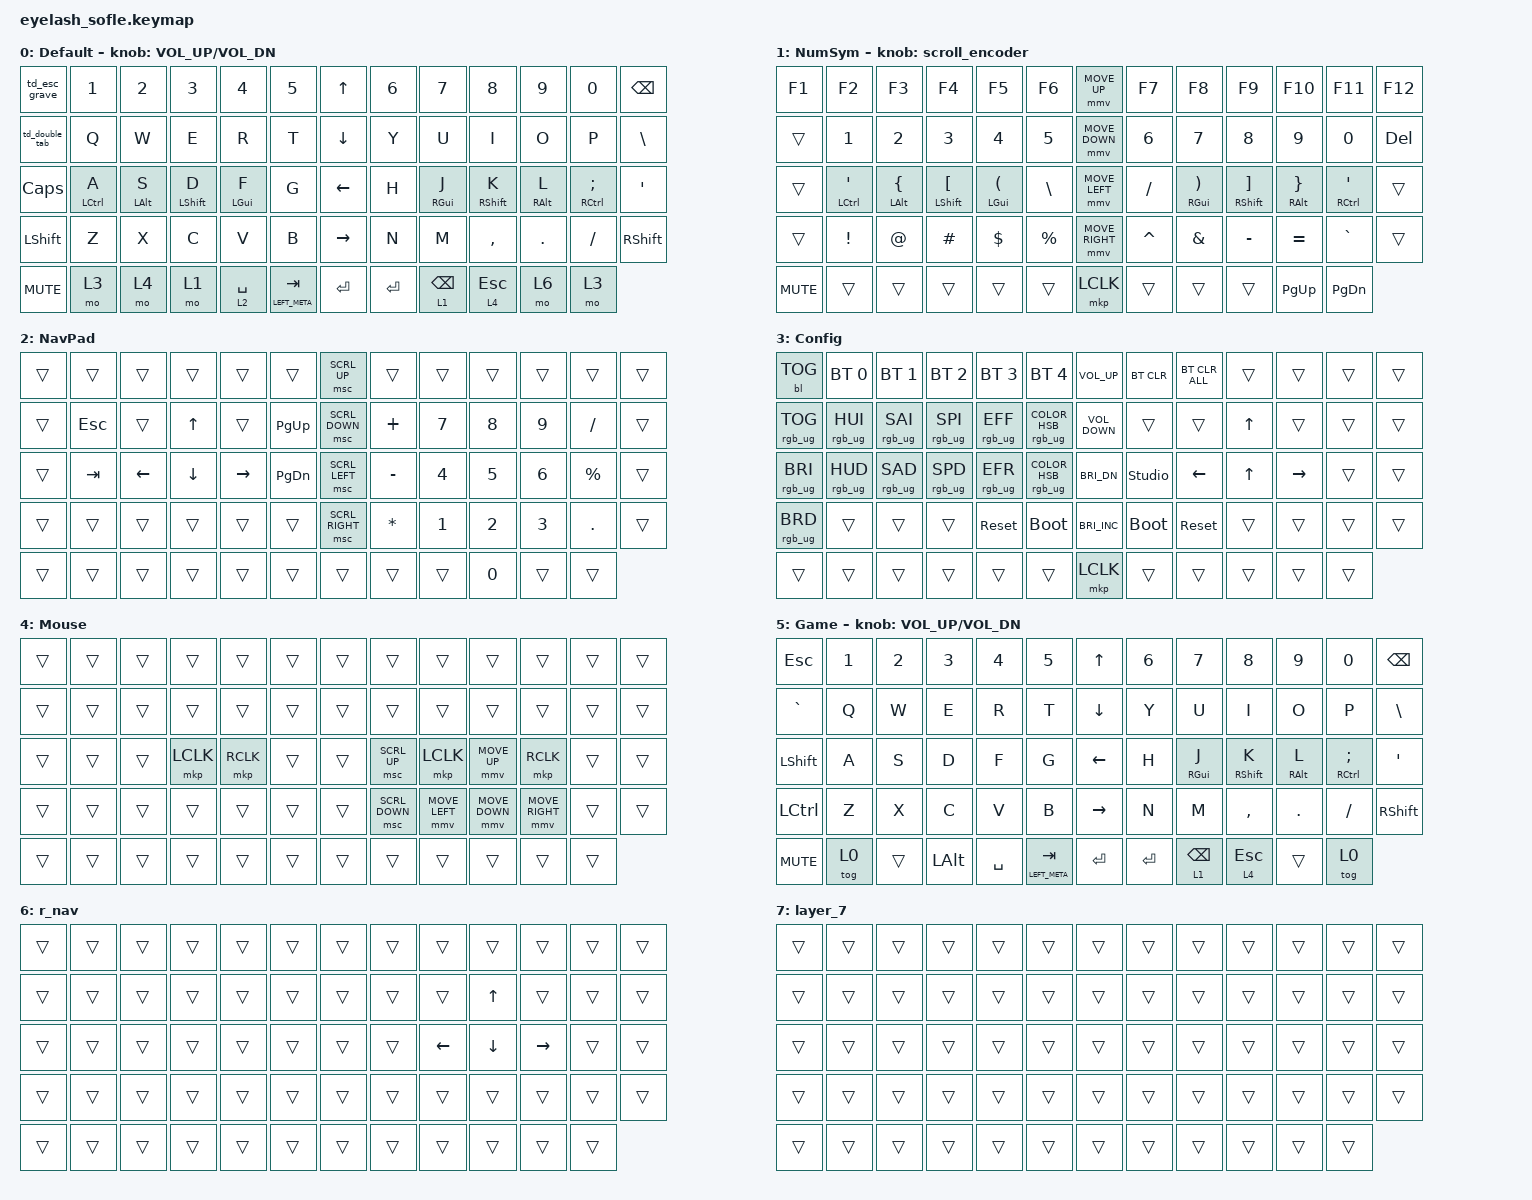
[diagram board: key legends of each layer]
#define ZMK_POINTING_DEFAULT_MOVE_VAL 1200  // 600
#define ZMK_POINTING_DEFAULT_SCRL_VAL 25   // 10
#define LEFT_HAND_POSITIONS  0 1 2 3 4 5 13 14 15 16 17 18 26 27 28 29 30 31 39 40 41 42 43 44 53 54 55 56 57
#define RIGHT_HAND_POSITIONS 7 8 9 10 11 12 20 21 22 23 24 25 33 34 35 36 37 38 46 47 48 49 50 51 59 60 61 62 63

#include <input/processors.dtsi>
#include <zephyr/dt-bindings/input/input-event-codes.h>
#include <behaviors.dtsi>
#include <dt-bindings/zmk/backlight.h>
#include <dt-bindings/zmk/bt.h>
#include <dt-bindings/zmk/keys.h>
#include <dt-bindings/zmk/pointing.h>
#include <dt-bindings/zmk/rgb.h>

&mmv_input_listener { input-processors = <&zip_xy_scaler 2 1>; };

&msc_input_listener { input-processors = <&zip_scroll_scaler 2 1>; };

&msc {
    acceleration-exponent = <1>;      // 0
    time-to-max-speed-ms = <100>;       // 300
    delay-ms = <0>;                   // 0
};

&mmv {
    time-to-max-speed-ms = <500>;
    acceleration-exponent = <1>;
    trigger-period-ms = <16>;
};

&soft_off { hold-time-ms = <2000>; };

&mt {
    flavor = "balanced";
    tapping-term-ms = <200>;
    quick-tap-ms = <175>;
    require-prior-idle-ms = <150>;
};

/ {
    scroll_encoder: scroll_encoder {
        compatible = "zmk,behavior-sensor-rotate";
        #sensor-binding-cells = <0>;
        bindings = <&msc SCRL_DOWN>, <&msc SCRL_UP>;

        tap-ms = <100>;
    };

    td_double_tab: td_double_tab {
        compatible = "zmk,behavior-tap-dance";
        label = "TD_DOUBLE_TAB";
        #binding-cells = <0>;
        bindings = <&kp TAB>, <&kp LS(TAB)>;
    };

    td_hyp_under: td_hyp_under {
        compatible = "zmk,behavior-tap-dance";
        label = "TD_HYP_UNDER";
        #binding-cells = <0>;
        bindings = <&kp MINUS>, <&kp LS(MINUS)>;
    };

    td_esc_grave: td_esc_grave {
        compatible = "zmk,behavior-tap-dance";
        label = "TD_ESC_GRAVE";
        #binding-cells = <0>;
        bindings = <&kp ESC>, <&kp GRAVE>;
    };

    behaviors {
        hrm_left: hrm_left {
            compatible = "zmk,behavior-hold-tap";
            #binding-cells = <2>;
            flavor = "balanced";
            tapping-term-ms = <200>;
            quick-tap-ms = <175>;
            require-prior-idle-ms = <150>;
            hold-trigger-key-positions = <RIGHT_HAND_POSITIONS>;
            hold-trigger-on-release;
            bindings = <&kp>, <&kp>;
        };

        hrm_right: hrm_right {
            compatible = "zmk,behavior-hold-tap";
            #binding-cells = <2>;
            flavor = "balanced";
            tapping-term-ms = <200>;
            quick-tap-ms = <175>;
            require-prior-idle-ms = <150>;
            hold-trigger-key-positions = <LEFT_HAND_POSITIONS>;
            hold-trigger-on-release;
            bindings = <&kp>, <&kp>;
        };

        tap_b: tap_b {
            compatible = "zmk,behavior-tap-dance";
            label = "TAP_B";
            #binding-cells = <0>;
            bindings = <&kp B>, <&kp LC(B)>;
        };
    };

    combos {
        compatible = "zmk,combos";

        softoff {
            bindings = <&soft_off>;
            key-positions = <14 28 40>;
        };

        combo_nav {
            bindings = <&mo 4>;
            key-positions = <56 60>;
        };

        toggle_mo_game {
            bindings = <&tog 5>;
            key-positions = <53 63>;
        };
    };

    macros {
        SHIFT_MCLK: SHIFT_MCLK {
            compatible = "zmk,behavior-macro";
            #binding-cells = <0>;
            bindings =
                <&macro_press>,
                <&kp LEFT_SHIFT>,
                <&macro_press>,
                <&mkp MB3>,
                <&macro_pause_for_release>,
                <&macro_release>,
                <&kp LEFT_SHIFT &mkp MB3>;

            label = "SHIFT_MCLK";
        };
    };

    keymap {
        compatible = "zmk,keymap";

        default_layer {
            bindings = <
&td_esc_grave   &kp N1             &kp N2            &kp N3             &kp N4            &kp N5               &kp UP_ARROW     &kp N6   &kp N7             &kp N8              &kp N9             &kp N0                 &kp BACKSPACE
&td_double_tab  &kp Q              &kp W             &kp E              &kp R             &kp T                &kp DOWN_ARROW   &kp Y    &kp U              &kp I               &kp O              &kp P                  &kp BSLH
&kp CAPS        &hrm_left LCTRL A  &hrm_left LALT S  &hrm_left LSHFT D  &hrm_left LGUI F  &kp G                &kp LEFT_ARROW   &kp H    &hrm_right RGUI J  &hrm_right RSHFT K  &hrm_right RALT L  &hrm_right RCTRL SEMI  &kp APOS
&kp LEFT_SHIFT  &kp Z              &kp X             &kp C              &kp V             &kp B                &kp RIGHT_ARROW  &kp N    &kp M              &kp COMMA           &kp DOT            &kp SLASH              &kp RIGHT_SHIFT
&kp C_MUTE      &mo 3              &mo 4             &mo 1              &lt 2 SPACE       &mt LEFT_META TAB    &kp ENTER        &kp RET  &lt 1 BACKSPACE    &lt 4 ESCAPE        &mo 6              &mo 3
            >;

            sensor-bindings = <&inc_dec_kp C_VOLUME_UP C_VOL_DN>;
            display-name = "Default";
        };

        num_symbol_layer {
            bindings = <
&kp F1      &kp F2                        &kp F3                     &kp F4                        &kp F5                           &kp F6           &mmv MOVE_UP     &kp F7     &kp F8                             &kp F9                          &kp F10                      &kp F11                        &kp F12
&trans      &kp NUMBER_1                  &kp NUMBER_2               &kp NUMBER_3                  &kp NUMBER_4                     &kp N5           &mmv MOVE_DOWN   &kp N6     &kp N7                             &kp N8                          &kp N9                       &kp N0                         &kp DELETE
&trans      &hrm_left LCTRL SINGLE_QUOTE  &hrm_left LALT LEFT_BRACE  &hrm_left LSHFT LEFT_BRACKET  &hrm_left LGUI LEFT_PARENTHESIS  &kp BACKSLASH    &mmv MOVE_LEFT   &kp SLASH  &hrm_right RGUI RIGHT_PARENTHESIS  &hrm_right RSHFT RIGHT_BRACKET  &hrm_right RALT RIGHT_BRACE  &hrm_right RCTRL SINGLE_QUOTE  &trans
&trans      &kp EXCLAMATION               &kp AT_SIGN                &kp HASH                      &kp DOLLAR                       &kp PERCENT      &mmv MOVE_RIGHT  &kp CARET  &kp AMPERSAND                      &kp MINUS                       &kp EQUAL                    &kp GRAVE                      &trans
&kp C_MUTE  &trans                        &trans                     &trans                        &trans                           &trans           &mkp LCLK        &trans     &trans                             &trans                          &kp PAGE_UP                  &kp PAGE_DOWN
            >;

            display-name = "NumSym";
            sensor-bindings = <&scroll_encoder>;
        };

        navigation_numpad {
            bindings = <
&trans  &trans      &trans          &trans        &trans     &trans           &msc SCRL_UP     &trans     &trans  &trans  &trans  &trans       &trans
&trans  &kp ESCAPE  &trans          &kp UP_ARROW  &trans     &kp PAGE_UP      &msc SCRL_DOWN   &kp PLUS   &kp N7  &kp N8  &kp N9  &kp SLASH    &trans
&trans  &kp TAB     &kp LEFT_ARROW  &kp DOWN      &kp RIGHT  &kp PAGE_DOWN    &msc SCRL_LEFT   &kp MINUS  &kp N4  &kp N5  &kp N6  &kp PERCENT  &trans
&trans  &trans      &trans          &trans        &trans     &trans           &msc SCRL_RIGHT  &kp ASTRK  &kp N1  &kp N2  &kp N3  &kp DOT      &trans
&trans  &trans      &trans          &trans        &trans     &trans           &trans           &trans     &trans  &kp N0  &trans  &trans
            >;

            label = "NavPad";
        };

        config {
            bindings = <
&bl BL_TOG       &bt BT_SEL 0     &bt BT_SEL 1     &bt BT_SEL 2     &bt BT_SEL 3     &bt BT_SEL 4                         &kp C_VOLUME_UP       &bt BT_CLR      &bt BT_CLR_ALL  &trans        &trans     &trans  &trans
&rgb_ug RGB_TOG  &rgb_ug RGB_HUI  &rgb_ug RGB_SAI  &rgb_ug RGB_SPI  &rgb_ug RGB_EFF  &rgb_ug RGB_COLOR_HSB(181,100,50)    &kp C_VOLUME_DOWN     &trans          &trans          &kp UP_ARROW  &trans     &trans  &trans
&rgb_ug RGB_BRI  &rgb_ug RGB_HUD  &rgb_ug RGB_SAD  &rgb_ug RGB_SPD  &rgb_ug RGB_EFR  &rgb_ug RGB_COLOR_HSB(130,1,77)      &kp C_BRI_DN          &studio_unlock  &kp LEFT        &kp UP        &kp RIGHT  &trans  &trans
&rgb_ug RGB_BRD  &trans           &trans           &trans           &sys_reset       &bootloader                          &kp C_BRIGHTNESS_INC  &bootloader     &sys_reset      &trans        &trans     &trans  &trans
&trans           &trans           &trans           &trans           &trans           &trans                               &mkp LCLK             &trans          &trans          &trans        &trans     &trans
            >;

            display-name = "Config";
        };

        mouse {
            bindings = <
&trans  &trans  &trans  &trans     &trans     &trans    &trans  &trans          &trans          &trans          &trans           &trans  &trans
&trans  &trans  &trans  &trans     &trans     &trans    &trans  &trans          &trans          &trans          &trans           &trans  &trans
&trans  &trans  &trans  &mkp LCLK  &mkp RCLK  &trans    &trans  &msc SCRL_UP    &mkp LCLK       &mmv MOVE_UP    &mkp RCLK        &trans  &trans
&trans  &trans  &trans  &trans     &trans     &trans    &trans  &msc SCRL_DOWN  &mmv MOVE_LEFT  &mmv MOVE_DOWN  &mmv MOVE_RIGHT  &trans  &trans
&trans  &trans  &trans  &trans     &trans     &trans    &trans  &trans          &trans          &trans          &trans           &trans
            >;

            label = "Mouse";
        };

        Game {
            display-name = "Game";
            bindings = <
&kp ESCAPE      &kp N1  &kp N2  &kp N3    &kp N4     &kp N5               &kp UP_ARROW     &kp N6   &kp N7             &kp N8              &kp N9             &kp N0                 &kp BACKSPACE
&kp GRAVE       &kp Q   &kp W   &kp E     &kp R      &kp T                &kp DOWN_ARROW   &kp Y    &kp U              &kp I               &kp O              &kp P                  &kp BSLH
&kp LEFT_SHIFT  &kp A   &kp S   &kp D     &kp F      &kp G                &kp LEFT_ARROW   &kp H    &hrm_right RGUI J  &hrm_right RSHFT K  &hrm_right RALT L  &hrm_right RCTRL SEMI  &kp APOS
&kp LCTRL       &kp Z   &kp X   &kp C     &kp V      &kp B                &kp RIGHT_ARROW  &kp N    &kp M              &kp COMMA           &kp DOT            &kp SLASH              &kp RIGHT_SHIFT
&kp C_MUTE      &tog 0  &trans  &kp LALT  &kp SPACE  &mt LEFT_META TAB    &kp ENTER        &kp RET  &lt 1 BACKSPACE    &lt 4 ESCAPE        &trans             &tog 0
            >;

            sensor-bindings = <&inc_dec_kp C_VOLUME_UP C_VOL_DN>;
        };

        r_nav {
            bindings = <
&trans  &trans  &trans  &trans  &trans  &trans    &trans  &trans  &trans          &trans          &trans     &trans  &trans
&trans  &trans  &trans  &trans  &trans  &trans    &trans  &trans  &trans          &kp UP_ARROW    &trans     &trans  &trans
&trans  &trans  &trans  &trans  &trans  &trans    &trans  &trans  &kp LEFT_ARROW  &kp DOWN_ARROW  &kp RIGHT  &trans  &trans
&trans  &trans  &trans  &trans  &trans  &trans    &trans  &trans  &trans          &trans          &trans     &trans  &trans
&trans  &trans  &trans  &trans  &trans  &trans    &trans  &trans  &trans          &trans          &trans     &trans
            >;
        };

        layer_7 {
            bindings = <
&trans  &trans  &trans  &trans  &trans  &trans    &trans  &trans  &trans  &trans  &trans  &trans  &trans
&trans  &trans  &trans  &trans  &trans  &trans    &trans  &trans  &trans  &trans  &trans  &trans  &trans
&trans  &trans  &trans  &trans  &trans  &trans    &trans  &trans  &trans  &trans  &trans  &trans  &trans
&trans  &trans  &trans  &trans  &trans  &trans    &trans  &trans  &trans  &trans  &trans  &trans  &trans
&trans  &trans  &trans  &trans  &trans  &trans    &trans  &trans  &trans  &trans  &trans  &trans
            >;
        };
    };
};
